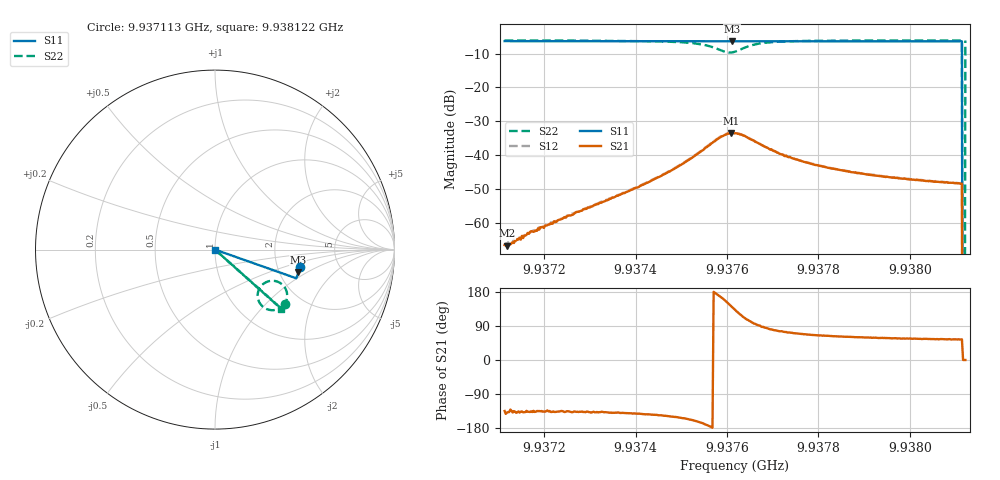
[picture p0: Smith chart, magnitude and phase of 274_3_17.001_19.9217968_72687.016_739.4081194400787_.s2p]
#  HZ  S  RI  R  50.00
! Rohde & Schwarz Vector Network Analyzer
! Rohde-Schwarz,ZNB20-2Port,1311601062101988,3.16
! Created: UTC 3/20/2024, 11:04:19 PM
! freq[Hz]  re:S11  im:S11  re:S21  im:S21  re:S12  im:S12  re:S22  im:S22
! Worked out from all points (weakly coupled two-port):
!   400 points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, 9.937113 GHz to 9.938122 GHz, reference 50 ohm
!   highest |S21| = -33.50 dB at 9.937609 GHz (marker M1); lowest = -66.9 dB at 9.937118 GHz (marker M2)
!   lowest |S11| = -6.4 dB at 9.937611 GHz (marker M3), VSWR 2.84, Z = 126 - j41.6 ohm
!   |S11| at or under -10 dB: 9.938114 GHz to end of sweep
!   |S22| runs from - to -6.1 dB; largest |S21 - S12| = 0.00089
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9.9371131e9  0.4749 -0.0949  -0.000326 -0.00033  -0.000349 -0.000279  0.392 -0.303
9.9371182e9  0.4746 -0.0952  -0.000343 -0.000297  -0.000349 -0.000318  0.3917 -0.3034
9.937146e9  0.4743 -0.0971  -0.000445 -0.000391  -0.000453 -0.000393  0.3896 -0.3054
9.9371485e9  0.4742 -0.0974  -0.000405 -0.000384  -0.000429 -0.000394  0.3894 -0.3056
9.9371511e9  0.4742 -0.0975  -0.000454 -0.000443  -0.000456 -0.00041  0.3892 -0.3058
9.9371536e9  0.474 -0.0977  -0.000438 -0.000393  -0.000465 -0.000437  0.389 -0.3061
9.9371713e9  0.4738 -0.0988  -0.000531 -0.000522  -0.000537 -0.000489  0.3876 -0.3075
9.9372825e9  0.4717 -0.1063  -0.00107 -0.00104  -0.00114 -0.00104  0.3772 -0.3166
9.9374494e9  0.4681 -0.1177  -0.00386 -0.00264  -0.00392 -0.00264  0.3456 -0.3335
9.9375505e9  0.4648 -0.1245  -0.0121 -0.00234  -0.0124 -0.00219  0.2752 -0.3244
9.9375859e9  0.4633 -0.1263  -0.0178 0.00422  -0.0181 0.00484  0.2382 -0.2637
9.9376087e9  0.4629 -0.1267  -0.0167 0.013  -0.0165 0.0135  0.2611 -0.1984
9.9376112e9  0.4627 -0.1266  -0.016 0.0136  -0.0159 0.0144  0.2672 -0.1928
9.9376188e9  0.4628 -0.1268  -0.0139 0.0158  -0.0133 0.0164  0.2884 -0.1799
9.937677e9  0.4632 -0.1305  0.00069 0.0139  0.000928 0.014  0.3944 -0.221
9.937725e9  0.4625 -0.1341  0.00262 0.00936  0.00286 0.00958  0.4021 -0.2604
9.9377857e9  0.4611 -0.1384  0.00297 0.00674  0.0031 0.00672  0.3972 -0.2855
9.9379551e9  0.4571 -0.1497  0.00249 0.00396  0.00258 0.00397  0.3816 -0.3146
9.9381144e9  0.4528 -0.1598  0.00219 0.00306  0.00231 0.00302  0.3698 -0.329
9.9381169e9  0 0  0 0  0 0  0 0
9.9381194e9  0 0  0 0  0 0  0 0
9.938122e9  0 0  0 0  0 0  0.3691 -0.3295
